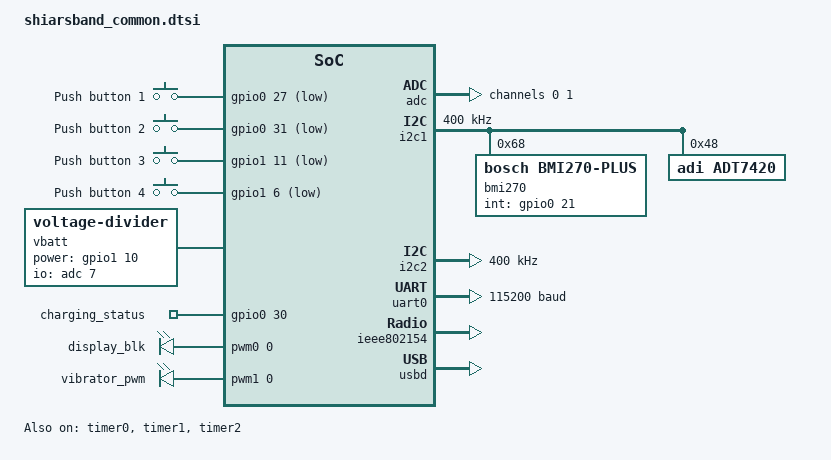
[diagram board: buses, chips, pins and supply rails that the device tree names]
#include "shiarsband_common-pinctrl.dtsi"

/{
    chosen{
        zephyr,console = &uart0;
		zephyr,shell-uart = &uart0;
		zephyr,uart-mcumgr = &uart0;
		zephyr,bt-mon-uart = &uart0;
		zephyr,bt-c2h-uart = &uart0;
        zephyr,bt-hci-ipc = &ipc0;
        zephyr,ieee802154 = &ieee802154;
    };
    
    buttons {
		compatible = "gpio-keys";
        button0: button_0 {
            gpios = <&gpio0 27 (GPIO_PULL_UP | GPIO_ACTIVE_LOW)>;
            label = "Push button 1";
        };
        button1: button_1 {
            gpios = <&gpio0 31 (GPIO_PULL_UP | GPIO_ACTIVE_LOW)>;
            label = "Push button 2";
        };
        button2: button_2 {
            gpios = <&gpio1 11 (GPIO_PULL_UP | GPIO_ACTIVE_LOW)>;
            label = "Push button 3";
        };
        button3: button_3 {
            gpios = <&gpio1 6 (GPIO_PULL_UP | GPIO_ACTIVE_LOW)>;
            label = "Push button 4";
        };
	};
    /*Pin: Battery Monitor */
	vbatt {
        compatible = "voltage-divider";
        io-channels = <&adc 7>;
        output-ohms = <220000>;
        full-ohms = <(1500000 + 220000)>;
        power-gpios = <&gpio1 10 0>;
    };
    /*Pin: Charger */
    charger {
        compatible = "gpio-keys";
        charging_status: charging_status {
            gpios = <&gpio0 30 (GPIO_PULL_UP | GPIO_ACTIVE_HIGH)>;
        };
    };
    /* Joystick */
    joy_x{
        io-channels = <&adc 0>;
    };
    joy_y{
        io-channels = <&adc 1>;
    };
    
    /* These aliases are provided for compatibility with samples */

    pwmleds {
        compatible = "pwm-leds";
        display_blk: pwm_led_0 {
            pwms = <&pwm0 0 PWM_MSEC(20) PWM_POLARITY_INVERTED>;
        };
        vibrator_pwm: pwm_led_1 {
            pwms = <&pwm1 0 PWM_MSEC(20) 0>;
        };
    };

	aliases {
	    sw0 = &button0;/*Button:- Select */
        sw1 = &button1;/*Button:- Down */
        sw2 = &button2;/*Button:- Back */
        sw3 = &button3;/*Button:- Up */
        sw-select = &button0;
        sw-back = &button2;
        sw-up = &button3;
        sw-down = &button1;
        watchdog0 = &wdt0;
        mcuboot-button0 = &button1;
    };
};

&adc {
    #address-cells = <1>;
	#size-cells = <0>;
    status = "okay";
    channel@0 {
		reg = <0>;
		zephyr,gain = "ADC_GAIN_1_6";
		zephyr,reference = "ADC_REF_INTERNAL";
		zephyr,acquisition-time = <ADC_ACQ_TIME_DEFAULT>;
		zephyr,input-positive = <NRF_SAADC_AIN0>; 
		zephyr,resolution = <12>;
	};
    channel@1 {
		reg = <1>;
		zephyr,gain = "ADC_GAIN_1_6";
		zephyr,reference = "ADC_REF_INTERNAL";
		zephyr,acquisition-time = <ADC_ACQ_TIME_DEFAULT>;
		zephyr,input-positive = <NRF_SAADC_AIN1>; 
		zephyr,resolution = <12>;
	};
};

&gpiote {
	status = "okay";
};

&gpio0 {
	status = "okay";
    sense-edge-mask = < 0xffffffff >;
};

&gpio1 {
	status = "okay";
};

&i2c1 {
	compatible = "nordic,nrf-twim";
    status = "okay";
    clock-frequency = <I2C_BITRATE_FAST>;
    zephyr,concat-buf-size = <512>;

    pinctrl-0 = <&i2c1_default>;
    pinctrl-1 = <&i2c1_sleep>;
    pinctrl-names = "default", "sleep";

    bmi270: bmi270@68 {
        compatible = "bosch,bmi270-plus";
        reg = <0x68>;
        status = "okay";
        int-gpios = <&gpio0 21 (GPIO_PULL_DOWN | GPIO_ACTIVE_HIGH)>;
        invert-x;
        invert-y;
    };

    adt7420: adt7420@48 {
        compatible = "adi,adt7420";
        reg = <0x48>;
        status = "okay";
    };

    // bme688: bme688@76 {
    //     compatible = "bosch,bme680";
    //     reg = <0x76>;
    //     status = "okay";
    // };

    // lis2mdl: lis2mdl@1e {
    //     compatible = "st,lis2mdl";
    //     reg = <0x1e>;
    //     irq-gpios = <&gpio0 24 0>;
    // };

    // max30101@57 {
    //     status = "okay";
    //     compatible = "maxim,max30101";
    //     reg = <0x57>;
    //     //irq-gpios = <&gpio0 22 GPIO_ACTIVE_HIGH;
    // };

    // bmp581: bmp581@47 {
    //     compatible = "bosch,bmp581";
    //     reg = <0x47>;
    //     int-gpios = <&gpio0 25 (GPIO_PULL_UP | GPIO_ACTIVE_LOW)>;
    // };

    // cst816s: cst816s@15 {
	// 	compatible = "hynitron,cst816s";
	// 	reg = <0x15>;
	// 	irq-gpios = <&gpio1 0 GPIO_ACTIVE_LOW>;
	// 	rst-gpios = <&gpio0 20 GPIO_ACTIVE_LOW>;
	// };

    // max32664: max32664@55{
    //     status = "okay";
    //     compatible = "maxim,max32664";
    //     reg = < 0x55 >;
    //     // label = "MAX32664";
    //     rst-gpios = <&gpio0 13 GPIO_ACTIVE_HIGH>;
    //     mfio-gpios = <&gpio1 9 GPIO_PULL_UP>;
    // };
};

&i2c2 {
    compatible = "nordic,nrf-twim";
    status = "okay";
    clock-frequency = <I2C_BITRATE_FAST>;
    // zephyr,concat-buf-size = <512>;
    pinctrl-0 = <&i2c2_default>;
    pinctrl-1 = <&i2c2_sleep>;
    pinctrl-names = "default", "sleep";

    // cst816s: cst816s@15 {
	// 	compatible = "hynitron,cst816s";
	// 	reg = <0x15>;
	// 	irq-gpios = <&gpio1 0 GPIO_ACTIVE_LOW>;
	// 	rst-gpios = <&gpio0 20 GPIO_ACTIVE_LOW>;
	// };
};

/* UART0 GPIOs can be configured for other use-cases */
&uart0 {
    current-speed = <115200>;
    status = "okay";
    pinctrl-0 = <&uart0_default>;
    pinctrl-1 = <&uart0_sleep>;
    pinctrl-names = "default", "sleep";
};

&timer0 {
    status = "okay";
};

&timer1 {
    status = "okay";
};

&timer2 {
    status = "okay";
};

&flash0 {
    partitions {
        compatible = "fixed-partitions";
        #address-cells = <1>;
        #size-cells = <1>;

        boot_partition: partition@0 {
            label = "mcuboot";
            reg = <0x00000000 0x00010000>;
        };
        slot0_partition: partition@10000 {
            label = "image-0";
        };
        slot0_ns_partition: partition@50000 {
            label = "image-0-nonsecure";
        };
        slot1_partition: partition@80000 {
            label = "image-1";
        };
        slot1_ns_partition: partition@c0000 {
            label = "image-1-nonsecure";
        };
        scratch_partition: partition@f0000 {
            label = "image-scratch";
            reg = <0x000f0000 0xa000>;
        };
        storage_partition: partition@fa000 {
            label = "storage";
            reg = <0x000fa000 0x00006000>;
        };
    };
};

&ieee802154 {
	status = "okay";
};

zephyr_udc0: &usbd {
	compatible = "nordic,nrf-usbd";
	status = "okay";
};

/ {

	reserved-memory {
		#address-cells = <1>;
		#size-cells = <1>;
		ranges;

		sram0_image: image@20000000 {
			/* Zephyr image(s) memory */
		};

		sram0_s: image_s@20000000 {
			/* Secure image memory */
		};

		sram0_ns: image_ns@20040000 {
			/* Non-Secure image memory */
		};
	};
};

#include "shiarsband_common-pinctrl.dtsi"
